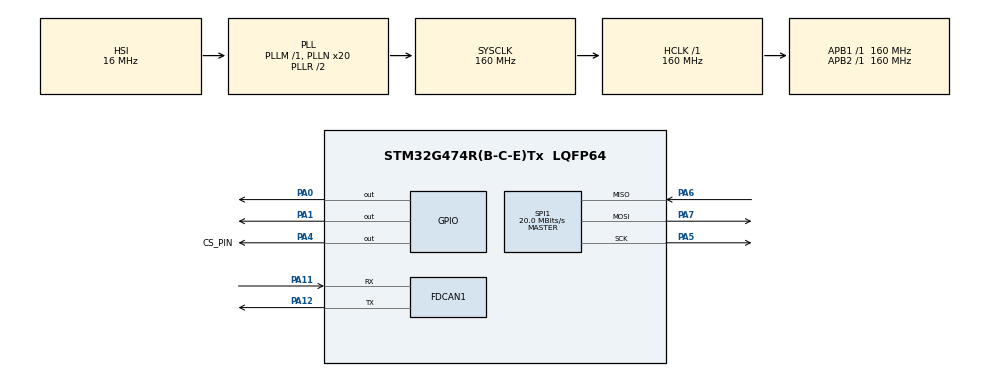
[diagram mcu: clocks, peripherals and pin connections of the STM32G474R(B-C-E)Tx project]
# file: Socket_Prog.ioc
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Dma.Request0=SPI1_RX
Dma.Request1=SPI1_TX
Dma.SPI1_RX.0.Direction=DMA_PERIPH_TO_MEMORY
Dma.SPI1_RX.0.EventEnable=DISABLE
Dma.SPI1_RX.0.Instance=DMA1_Channel1
Dma.SPI1_RX.0.MemDataAlignment=DMA_MDATAALIGN_BYTE
Dma.SPI1_RX.0.MemInc=DMA_MINC_ENABLE
Dma.SPI1_RX.0.Mode=DMA_NORMAL
Dma.SPI1_RX.0.PeriphDataAlignment=DMA_PDATAALIGN_BYTE
Dma.SPI1_RX.0.PeriphInc=DMA_PINC_DISABLE
Dma.SPI1_RX.0.Polarity=HAL_DMAMUX_REQ_GEN_RISING
Dma.SPI1_RX.0.Priority=DMA_PRIORITY_LOW
Dma.SPI1_RX.0.RequestNumber=1
Dma.SPI1_RX.0.SignalID=NONE
Dma.SPI1_RX.0.SyncEnable=DISABLE
Dma.SPI1_RX.0.SyncPolarity=HAL_DMAMUX_SYNC_NO_EVENT
Dma.SPI1_RX.0.SyncRequestNumber=1
Dma.SPI1_RX.0.SyncSignalID=NONE
Dma.SPI1_TX.1.Direction=DMA_MEMORY_TO_PERIPH
Dma.SPI1_TX.1.EventEnable=DISABLE
Dma.SPI1_TX.1.Instance=DMA1_Channel2
Dma.SPI1_TX.1.MemDataAlignment=DMA_MDATAALIGN_BYTE
Dma.SPI1_TX.1.MemInc=DMA_MINC_ENABLE
Dma.SPI1_TX.1.Mode=DMA_NORMAL
Dma.SPI1_TX.1.PeriphDataAlignment=DMA_PDATAALIGN_BYTE
Dma.SPI1_TX.1.PeriphInc=DMA_PINC_DISABLE
Dma.SPI1_TX.1.Polarity=HAL_DMAMUX_REQ_GEN_RISING
Dma.SPI1_TX.1.Priority=DMA_PRIORITY_LOW
Dma.SPI1_TX.1.RequestNumber=1
Dma.SPI1_TX.1.SignalID=NONE
Dma.SPI1_TX.1.SyncEnable=DISABLE
Dma.SPI1_TX.1.SyncPolarity=HAL_DMAMUX_SYNC_NO_EVENT
Dma.SPI1_TX.1.SyncRequestNumber=1
Dma.SPI1_TX.1.SyncSignalID=NONE
FDCAN1.AutoRetransmission=ENABLE
FDCAN1.CalculateBaudRateNominal=1000000
FDCAN1.CalculateTimeBitNominal=1000
FDCAN1.CalculateTimeQuantumNominal=12.5
FDCAN1.ClockDivider=FDCAN_CLOCK_DIV1
FDCAN1.DataPrescaler=2
FDCAN1.DataSyncJumpWidth=4
FDCAN1.DataTimeSeg1=5
FDCAN1.DataTimeSeg2=5
FDCAN1.ExtFiltersNbr=4
FDCAN1.FrameFormat=FDCAN_FRAME_CLASSIC
FDCAN1.NominalPrescaler=1
FDCAN1.NominalSyncJumpWidth=16
FDCAN1.NominalTimeSeg1=63
FDCAN1.NominalTimeSeg2=16
FDCAN1.StdFiltersNbr=3
Mcu.Family=STM32G4
Mcu.Name=STM32G474R(B-C-E)Tx
Mcu.Package=LQFP64
NUCLEO-G474RE.BUTTON=1
NUCLEO-G474RE.LD2=true
NUCLEO-G474RE.VCP=true
NVIC.DMA1_Channel1_IRQn=true\:0\:0\:false\:false\:true\:false\:true\:true
NVIC.DMA1_Channel2_IRQn=true\:0\:0\:false\:false\:true\:false\:true\:true
NVIC.FDCAN1_IT0_IRQn=true\:0\:0\:false\:false\:true\:true\:true\:true
NVIC.PriorityGroup=NVIC_PRIORITYGROUP_4
PA0.Signal=GPIO_Output
PA1.Signal=GPIO_Output
PA11.GPIO_Speed=GPIO_SPEED_FREQ_VERY_HIGH
PA11.Mode=FDCAN_Activate
PA11.Signal=FDCAN1_RX
PA12.GPIO_Speed=GPIO_SPEED_FREQ_VERY_HIGH
PA12.Mode=FDCAN_Activate
PA12.Signal=FDCAN1_TX
PA13.Mode=Serial_Wire
PA13.Signal=SYS_JTMS-SWDIO
PA14.Mode=Serial_Wire
PA14.Signal=SYS_JTCK-SWCLK
PA4.GPIO_Label=CS_PIN
PA4.Signal=GPIO_Output
PA5.Mode=Full_Duplex_Master
PA5.Signal=SPI1_SCK
PA6.GPIO_Speed=GPIO_SPEED_FREQ_VERY_HIGH
PA6.Mode=Full_Duplex_Master
PA6.Signal=SPI1_MISO
PA7.GPIO_Speed=GPIO_SPEED_FREQ_VERY_HIGH
PA7.Mode=Full_Duplex_Master
PA7.Signal=SPI1_MOSI
PF0-OSC_IN.Mode=HSE-External-Oscillator
PF0-OSC_IN.Signal=RCC_OSC_IN
PF1-OSC_OUT.Mode=HSE-External-Oscillator
PF1-OSC_OUT.Signal=RCC_OSC_OUT
ProjectManager.HeapSize=0x200
ProjectManager.StackSize=0x400
ProjectManager.TargetToolchain=STM32CubeIDE
RCC.ADC12Freq_Value=160000000
RCC.ADC345Freq_Value=160000000
RCC.AHBFreq_Value=160000000
RCC.APB1Freq_Value=160000000
RCC.APB1TimFreq_Value=160000000
RCC.APB2Freq_Value=160000000
RCC.APB2TimFreq_Value=160000000
RCC.CortexFreq_Value=160000000
RCC.EXTERNAL_CLOCK_VALUE=12288000
RCC.FDCANCLockSelection=RCC_FDCANCLKSOURCE_PLL
RCC.HCLKFreq_Value=160000000
RCC.HSE_VALUE=24000000
RCC.HSI48_VALUE=48000000
RCC.HSI_VALUE=16000000
RCC.LSE_VALUE=32768
RCC.PLLN=20
RCC.PLLQ=RCC_PLLQ_DIV4
RCC.RTCClockSelection=RCC_RTCCLKSOURCE_LSE
RCC.SYSCLKFreq_VALUE=160000000
RCC.SYSCLKSource=RCC_SYSCLKSOURCE_PLLCLK
RCC.USBFreq_Value=80000000
RCC.VCOOutputFreq_Value=320000000
SPI1.BaudRatePrescaler=SPI_BAUDRATEPRESCALER_8
SPI1.CalculateBaudRate=20.0 MBits/s
SPI1.DataSize=SPI_DATASIZE_8BIT
SPI1.Direction=SPI_DIRECTION_2LINES
SPI1.Mode=SPI_MODE_MASTER
SPI1.VirtualType=VM_MASTER
TIM3.PeriodNoDither=999
TIM3.Prescaler=159
VP_SYS_VS_DBSignals.Mode=DisableDeadBatterySignals
VP_TIM3_VS_ClockSourceINT.Mode=Internal
board=NUCLEO-G474RE

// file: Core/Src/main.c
/* USER CODE BEGIN Header */
/**
  ******************************************************************************
  * @file           : main.c
  * @brief          : Main program body
  ******************************************************************************
  * @attention
  *
  * Copyright (c) 2025 STMicroelectronics.
  * All rights reserved.
  *
  * This software is licensed under terms that can be found in the LICENSE file
  * in the root directory of this software component.
  * If no LICENSE file comes with this software, it is provided AS-IS.
  *
  ******************************************************************************
  */
/* USER CODE END Header */
#include "main.h"

/* USER CODE BEGIN Includes */
#include "tcp_server.h"
#include "Imu_handler.h"
#include "Bms_handler.h"
/* USER CODE END Includes */

FDCAN_HandleTypeDef hfdcan1;

SPI_HandleTypeDef hspi1;
DMA_HandleTypeDef hdma_spi1_rx;
DMA_HandleTypeDef hdma_spi1_tx;

TIM_HandleTypeDef htim3;

/* USER CODE BEGIN PV */
//uint8_t S_ADDR[4] = {176,162,10,2};
//uint16_t S_PORT = 6565;
uint8_t RxData[8];
FDCAN_RxHeaderTypeDef RxHeader;
bool Newmessage1= false;
bool Nextmessage1 = false;

/* USER CODE END PV */

void SystemClock_Config(void);
static void MX_GPIO_Init(void);
static void MX_DMA_Init(void);
static void MX_FDCAN1_Init(void);
static void MX_TIM3_Init(void);
static void MX_SPI1_Init(void);

/* USER CODE BEGIN 0 */

typedef void (*CAN_HandlerFunc)(uint32_t id, uint8_t* data, uint8_t dlc);

typedef struct {
    uint32_t can_id;
    CAN_HandlerFunc handler;
} CAN_ID_HandlerMap;

void Handlebmsmessage_wrapper(uint32_t id, uint8_t* data, uint8_t dlc) {
    Handlebmsmessage(id, data, dlc);
}

void Handleimumessage_wrapper(uint32_t id, uint8_t* data, uint8_t dlc) {
    Handleimumessage(id, data);
}

const CAN_ID_HandlerMap can_handlers[] = {
    {APP_flag_error_CANID,                Handlebmsmessage_wrapper},
    {BAT_BMS_IntTemp_CANID,              Handlebmsmessage_wrapper},
    {BAT_BMS_ExtTemp_CANID,              Handlebmsmessage_wrapper},
    {BAT_AFE_Fet_Status_CANID,           Handlebmsmessage_wrapper},
    {BAT_BMS_Charger_Load_Status_CANID,  Handlebmsmessage_wrapper},
    {BMS_Temp_Sensor_Present_CANID,      Handlebmsmessage_wrapper},
    {BAT_GAUGE_OvrVIEW_CANID,            Handlebmsmessage_wrapper},
    {BAT_GAUGE_ViT_CANID,                Handlebmsmessage_wrapper},
    {0x22,                                Handleimumessage_wrapper},
    {0x34,                                Handleimumessage_wrapper},
    {0x11,                                Handleimumessage_wrapper},
    {0x12,                                Handleimumessage_wrapper},
    {0x13,                                Handleimumessage_wrapper},
};

typedef uint8_t Commandtype;
Commandtype received_cmd;

void HAL_FDCAN_RxFifo0Callback(FDCAN_HandleTypeDef *hfdcan, uint32_t RxFifo0ITs){

    if (HAL_FDCAN_GetRxMessage(hfdcan, FDCAN_RX_FIFO0, &RxHeader, RxData) == HAL_OK) {

        uint32_t id = RxHeader.Identifier;
        uint8_t dlc = RxHeader.DataLength;

        for (int i = 0; i < sizeof(can_handlers)/sizeof(can_handlers[0]); i++) {
            if (can_handlers[i].can_id == id) {
                can_handlers[i].handler(id, RxData, dlc);
                break;

            }
        }
    }
}
/* USER CODE END 0 */

int main(void)
{

  /* MCU Configuration--------------------------------------------------------*/

  /* Reset of all peripherals, Initializes the Flash interface and the Systick. */
  HAL_Init();

  /* Configure the system clock */
  SystemClock_Config();

  /* Initialize all configured peripherals */
  MX_GPIO_Init();
  MX_DMA_Init();
  MX_FDCAN1_Init();
  MX_TIM3_Init();
  MX_SPI1_Init();
  /* USER CODE BEGIN 2 */
  HAL_TIM_Base_Start_IT(&htim3);

  if(HAL_FDCAN_Start(&hfdcan1)!= HAL_OK) Error_Handler();

  if(HAL_FDCAN_ActivateNotification(&hfdcan1, FDCAN_IT_RX_FIFO0_NEW_MESSAGE, 0) != HAL_OK)  Error_Handler();

 W5500_Init();
 wizchip_setnetinfo(&netInfo);

// tcp_server_host();
// uint8_t SOCKET = socket(TCP_SOCKET,Sn_MR_TCP,LOCAL_PORT,0);
// if(SOCKET == TCP_SOCKET){
//
//	  listen(TCP_SOCKET);
//}
 uint8_t UDP_socket = socket(UDP_SOCKET,Sn_MR_UDP ,LOCAL_PORT,0);

  if(UDP_socket != UDP_SOCKET){
 	 Error_Handler();
  }

  /* USER CODE END 2 */

  /* Infinite loop */
  /* USER CODE BEGIN WHILE */
  while (1)
  {

	  sendimudata();
//	  HAL_Delay(10);
//	  switch (getSn_SR(TCP_SOCKET)) {
//	          case SOCK_ESTABLISHED:
//	              if (getSn_IR(TCP_SOCKET) & Sn_IR_CON) {
//	                  setSn_IR(TCP_SOCKET, Sn_IR_CON);
//	                  Newmessage1 = false;
//	                  Nextmessage1 = false;
//	              }
//
//	              uint16_t rxSize = getSn_RX_RSR(TCP_SOCKET);
//	              if (rxSize >= sizeof(Commandtype)) {
//	                  int32_t received = recv(TCP_SOCKET, &received_cmd, sizeof(received_cmd));
//	                  if (received == sizeof(received_cmd)) {
//
//	                      if (received_cmd == Send_IMU_Data) {
//	                          Newmessage1 = true;
//	                          Nextmessage1 = false;
//	                          HAL_GPIO_TogglePin(GPIOA, GPIO_PIN_0);
//	                      } else if (received_cmd == Send_BMS_Data) {
//	                          Newmessage1 = false;
//	                          Nextmessage1 = true;
//	                          HAL_GPIO_TogglePin(GPIOA, GPIO_PIN_0);
//	                      }
//	                  }
//	              }
//	              if (Newmessage1 && getSn_SR(TCP_SOCKET) == SOCK_ESTABLISHED){
//	                  sendimudata();
//	              }
//	              if (Nextmessage1) {
//	                  sendbmsdata();
//	              }
//	              break;
//
//	          case SOCK_CLOSE_WAIT:
//	              disconnect(TCP_SOCKET);
//
//	              break;
//
//	          case SOCK_CLOSED:
//	              if (socket(TCP_SOCKET, Sn_MR_TCP, LOCAL_PORT, 0) == TCP_SOCKET) {
//	                  listen(TCP_SOCKET);
//	                  total_size = 0;
//
//	              }
//	              break;
//	           }
//	      if (getSn_IR(TCP_SOCKET) & Sn_IR_TIMEOUT) {
//	          setSn_IR(TCP_SOCKET, Sn_IR_TIMEOUT);
//	          disconnect(TCP_SOCKET);
//
//	      }
    /* USER CODE END WHILE */

    /* USER CODE BEGIN 3 */
  }
    HAL_Delay(100);
  /* USER CODE END 3 */
}

void SystemClock_Config(void)
{
  RCC_OscInitTypeDef RCC_OscInitStruct = {0};
  RCC_ClkInitTypeDef RCC_ClkInitStruct = {0};

  /** Configure the main internal regulator output voltage
  */
  HAL_PWREx_ControlVoltageScaling(PWR_REGULATOR_VOLTAGE_SCALE1_BOOST);

  /** Initializes the RCC Oscillators according to the specified parameters
  * in the RCC_OscInitTypeDef structure.
  */
  RCC_OscInitStruct.OscillatorType = RCC_OSCILLATORTYPE_HSI;
  RCC_OscInitStruct.HSIState = RCC_HSI_ON;
  RCC_OscInitStruct.HSICalibrationValue = RCC_HSICALIBRATION_DEFAULT;
  RCC_OscInitStruct.PLL.PLLState = RCC_PLL_ON;
  RCC_OscInitStruct.PLL.PLLSource = RCC_PLLSOURCE_HSI;
  RCC_OscInitStruct.PLL.PLLM = RCC_PLLM_DIV1;
  RCC_OscInitStruct.PLL.PLLN = 20;
  RCC_OscInitStruct.PLL.PLLP = RCC_PLLP_DIV2;
  RCC_OscInitStruct.PLL.PLLQ = RCC_PLLQ_DIV4;
  RCC_OscInitStruct.PLL.PLLR = RCC_PLLR_DIV2;
  if (HAL_RCC_OscConfig(&RCC_OscInitStruct) != HAL_OK)
  {
    Error_Handler();
  }

  /** Initializes the CPU, AHB and APB buses clocks
  */
  RCC_ClkInitStruct.ClockType = RCC_CLOCKTYPE_HCLK|RCC_CLOCKTYPE_SYSCLK
                              |RCC_CLOCKTYPE_PCLK1|RCC_CLOCKTYPE_PCLK2;
  RCC_ClkInitStruct.SYSCLKSource = RCC_SYSCLKSOURCE_PLLCLK;
  RCC_ClkInitStruct.AHBCLKDivider = RCC_SYSCLK_DIV1;
  RCC_ClkInitStruct.APB1CLKDivider = RCC_HCLK_DIV1;
  RCC_ClkInitStruct.APB2CLKDivider = RCC_HCLK_DIV1;

  if (HAL_RCC_ClockConfig(&RCC_ClkInitStruct, FLASH_LATENCY_4) != HAL_OK)
  {
    Error_Handler();
  }
}

static void MX_FDCAN1_Init(void)
{

  hfdcan1.Instance = FDCAN1;
  hfdcan1.Init.ClockDivider = FDCAN_CLOCK_DIV1;
  hfdcan1.Init.FrameFormat = FDCAN_FRAME_CLASSIC;
  hfdcan1.Init.Mode = FDCAN_MODE_NORMAL;
  hfdcan1.Init.AutoRetransmission = ENABLE;
  hfdcan1.Init.TransmitPause = DISABLE;
  hfdcan1.Init.ProtocolException = DISABLE;
  hfdcan1.Init.NominalPrescaler = 1;
  hfdcan1.Init.NominalSyncJumpWidth = 16;
  hfdcan1.Init.NominalTimeSeg1 = 63;
  hfdcan1.Init.NominalTimeSeg2 = 16;
  hfdcan1.Init.DataPrescaler = 2;
  hfdcan1.Init.DataSyncJumpWidth = 4;
  hfdcan1.Init.DataTimeSeg1 = 5;
  hfdcan1.Init.DataTimeSeg2 = 5;
  hfdcan1.Init.StdFiltersNbr = 3;
  hfdcan1.Init.ExtFiltersNbr = 4;
  hfdcan1.Init.TxFifoQueueMode = FDCAN_TX_FIFO_OPERATION;
  if (HAL_FDCAN_Init(&hfdcan1) != HAL_OK)
  {
    Error_Handler();
  }
  /* USER CODE BEGIN FDCAN1_Init 2 */
  FDCAN_FilterTypeDef s;

        s.FilterConfig = FDCAN_FILTER_TO_RXFIFO0 ;
        s.FilterType = FDCAN_FILTER_DUAL ;
        s.IdType= FDCAN_STANDARD_ID;
        s.FilterID1 = 0x110;
        s.FilterID2 = 0x11;
        s.FilterIndex = 0;
    if(HAL_FDCAN_ConfigFilter(&hfdcan1,&s)!= HAL_OK){

         Error_Handler();

        }
        s.FilterID1 = 0x12;
        s.FilterID2 = 0x13;
        s.FilterIndex = 1;

    if(HAL_FDCAN_ConfigFilter(&hfdcan1,&s)!= HAL_OK){

      	 Error_Handler();
        }
        s.FilterID1 = 0x22;
        s.FilterID2 = 0x34;
        s.FilterIndex = 2;

    if(HAL_FDCAN_ConfigFilter(&hfdcan1,&s)!= HAL_OK){

  	     Error_Handler();
        }
  FDCAN_FilterTypeDef Filterconfigure;

        Filterconfigure.FilterConfig = FDCAN_FILTER_TO_RXFIFO0 ;
        Filterconfigure.FilterType = FDCAN_FILTER_DUAL;
        Filterconfigure.IdType= FDCAN_EXTENDED_ID;
        Filterconfigure.FilterIndex = 0;
        Filterconfigure.FilterID1 = 0x1FF310;
        Filterconfigure.FilterID2 = 0x1FF310;
     if(HAL_FDCAN_ConfigFilter(&hfdcan1,&Filterconfigure)!= HAL_OK){

         Error_Handler();

        }

        Filterconfigure.FilterIndex = 1;
        Filterconfigure.FilterID1 = 0x1FF615;
        Filterconfigure.FilterID2 = 0x1FF110;
     if(HAL_FDCAN_ConfigFilter(&hfdcan1,&Filterconfigure)!= HAL_OK){

         Error_Handler();

        }

        Filterconfigure.FilterIndex = 2;
        Filterconfigure.FilterID1 = 0x1FF611;
        Filterconfigure.FilterID2 = 0x1FF612;
     if(HAL_FDCAN_ConfigFilter(&hfdcan1,&Filterconfigure)!= HAL_OK){

         Error_Handler();

        }

        Filterconfigure.FilterIndex = 3;
        Filterconfigure.FilterID1 = 0x1FF810;
        Filterconfigure.FilterID2 = 0x1FF820;
     if(HAL_FDCAN_ConfigFilter(&hfdcan1,&Filterconfigure)!= HAL_OK){

      	 Error_Handler();

        }
  /* USER CODE END FDCAN1_Init 2 */

}

static void MX_SPI1_Init(void)
{

  /* SPI1 parameter configuration*/
  hspi1.Instance = SPI1;
  hspi1.Init.Mode = SPI_MODE_MASTER;
  hspi1.Init.Direction = SPI_DIRECTION_2LINES;
  hspi1.Init.DataSize = SPI_DATASIZE_8BIT;
  hspi1.Init.CLKPolarity = SPI_POLARITY_LOW;
  hspi1.Init.CLKPhase = SPI_PHASE_1EDGE;
  hspi1.Init.NSS = SPI_NSS_SOFT;
  hspi1.Init.BaudRatePrescaler = SPI_BAUDRATEPRESCALER_8;
  hspi1.Init.FirstBit = SPI_FIRSTBIT_MSB;
  hspi1.Init.TIMode = SPI_TIMODE_DISABLE;
  hspi1.Init.CRCCalculation = SPI_CRCCALCULATION_DISABLE;
  hspi1.Init.CRCPolynomial = 7;
  hspi1.Init.CRCLength = SPI_CRC_LENGTH_DATASIZE;
  hspi1.Init.NSSPMode = SPI_NSS_PULSE_ENABLE;
  if (HAL_SPI_Init(&hspi1) != HAL_OK)
  {
    Error_Handler();
  }

}

static void MX_TIM3_Init(void)
{

  TIM_ClockConfigTypeDef sClockSourceConfig = {0};
  TIM_MasterConfigTypeDef sMasterConfig = {0};

  htim3.Instance = TIM3;
  htim3.Init.Prescaler = 159;
  htim3.Init.CounterMode = TIM_COUNTERMODE_UP;
  htim3.Init.Period = 999;
  htim3.Init.ClockDivision = TIM_CLOCKDIVISION_DIV1;
  htim3.Init.AutoReloadPreload = TIM_AUTORELOAD_PRELOAD_DISABLE;
  if (HAL_TIM_Base_Init(&htim3) != HAL_OK)
  {
    Error_Handler();
  }
  sClockSourceConfig.ClockSource = TIM_CLOCKSOURCE_INTERNAL;
  if (HAL_TIM_ConfigClockSource(&htim3, &sClockSourceConfig) != HAL_OK)
  {
    Error_Handler();
  }
  sMasterConfig.MasterOutputTrigger = TIM_TRGO_RESET;
  sMasterConfig.MasterSlaveMode = TIM_MASTERSLAVEMODE_DISABLE;
  if (HAL_TIMEx_MasterConfigSynchronization(&htim3, &sMasterConfig) != HAL_OK)
  {
    Error_Handler();
  }

}

static void MX_DMA_Init(void)
{

  /* DMA controller clock enable */
  __HAL_RCC_DMAMUX1_CLK_ENABLE();
  __HAL_RCC_DMA1_CLK_ENABLE();

  /* DMA interrupt init */
  /* DMA1_Channel1_IRQn interrupt configuration */
  HAL_NVIC_SetPriority(DMA1_Channel1_IRQn, 0, 0);
  HAL_NVIC_EnableIRQ(DMA1_Channel1_IRQn);
  /* DMA1_Channel2_IRQn interrupt configuration */
  HAL_NVIC_SetPriority(DMA1_Channel2_IRQn, 0, 0);
  HAL_NVIC_EnableIRQ(DMA1_Channel2_IRQn);

}

static void MX_GPIO_Init(void)
{
  GPIO_InitTypeDef GPIO_InitStruct = {0};

  /* GPIO Ports Clock Enable */
  __HAL_RCC_GPIOF_CLK_ENABLE();
  __HAL_RCC_GPIOA_CLK_ENABLE();

  /*Configure GPIO pin Output Level */
  HAL_GPIO_WritePin(GPIOA, GPIO_PIN_0|GPIO_PIN_1|CS_PIN_Pin, GPIO_PIN_RESET);

  /*Configure GPIO pins : PA0 PA1 CS_PIN_Pin */
  GPIO_InitStruct.Pin = GPIO_PIN_0|GPIO_PIN_1|CS_PIN_Pin;
  GPIO_InitStruct.Mode = GPIO_MODE_OUTPUT_PP;
  GPIO_InitStruct.Pull = GPIO_NOPULL;
  GPIO_InitStruct.Speed = GPIO_SPEED_FREQ_LOW;
  HAL_GPIO_Init(GPIOA, &GPIO_InitStruct);

}

void Error_Handler(void)
{
  __disable_irq();
  while (1)
  {
  }
}
